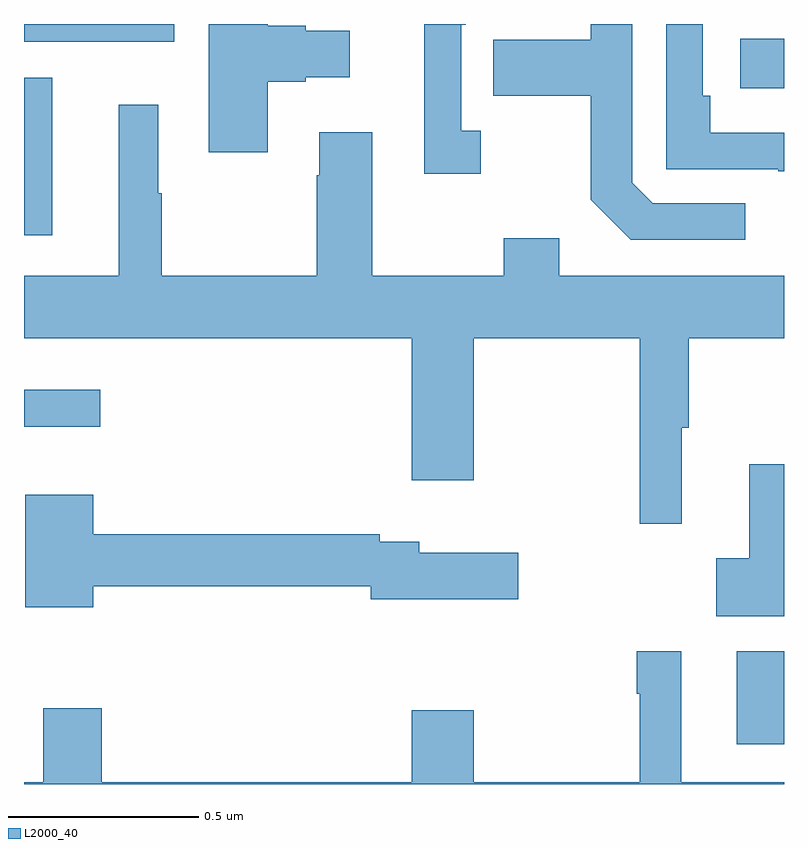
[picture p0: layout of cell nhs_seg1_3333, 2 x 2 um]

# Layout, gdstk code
import gdstk
lib = gdstk.Library(unit=1e-6, precision=1e-09)
def R(c, l, rs):  # rectangles x0, y0, x1, y1
    for r in rs: c.add(gdstk.rectangle(r[:2], r[2:], *l))
def P(c, l, *ps):  # polygons
    for p in ps: c.add(gdstk.Polygon(p, *l))
L2000_40 = (2000, 40)

nhs_seg1_3333 = lib.new_cell('nhs_seg1_3333')
R(nhs_seg1_3333, L2000_40, [(153.875,577.304,154,577.549), (152,578.139,152.2,578.236), (152,578.643,152.074,579.058), (153.885,579.03,154,579.16), (152,579.152,152.395,579.199)])
P(nhs_seg1_3333, L2000_40, [(152.641,579.047),(152.741,579.047),(152.741,579.059),(152.857,579.059),(152.857,579.181),(152.741,579.181),(152.741,579.194),(152.641,579.194),(152.641,579.199),(152.486,579.199),(152.486,578.862),(152.641,578.862)],
  [(153.202,578.918),(153.15,578.918),(153.15,579.197),(153.163,579.197),(153.163,579.199),(153.053,579.199),(153.053,578.805),(153.202,578.805)],
  [(154,578.913),(153.806,578.913),(153.806,579.01),(153.786,579.01),(153.786,579.199),(153.69,579.199),(153.69,578.817),(153.985,578.817),(153.985,578.812),(154,578.812)],
  [(153.898,578.727),(153.654,578.727),(153.6,578.781),(153.6,579.199),(153.492,579.199),(153.492,579.157),(153.235,579.157),(153.235,579.01),(153.492,579.01),(153.492,578.737),(153.597,578.631),(153.898,578.631)],
  [(153.731,578.136),(153.749,578.136),(153.749,578.372),(154,578.372),(154,578.536),(153.409,578.536),(153.409,578.635),(153.262,578.635),(153.262,578.536),(152.917,578.536),(152.917,578.914),(152.777,578.914),(152.777,578.801),(152.77,578.801),(152.77,578.536),(152.363,578.536),(152.363,578.753),(152.353,578.753),(152.353,578.986),(152.249,578.986),(152.249,578.536),(152,578.536),(152,578.372),(153.02,578.372),(153.02,577.998),(153.184,577.998),(153.184,578.372),(153.621,578.372),(153.621,577.884),(153.731,577.884)],
  [(154,578.041),(153.908,578.041),(153.908,577.793),(153.822,577.793),(153.822,577.64),(154,577.64)],
  [(152.182,577.72),(152.912,577.72),(152.912,577.685),(153.301,577.685),(153.301,577.807),(153.04,577.807),(153.04,577.836),(152.936,577.836),(152.936,577.856),(152.182,577.856),(152.182,577.96),(152.003,577.96),(152.003,577.664),(152.182,577.664)],
  [(154,577.204),(153.73,577.204),(153.73,577.549),(153.613,577.549),(153.613,577.436),(153.621,577.436),(153.621,577.204),(153.184,577.204),(153.184,577.393),(153.02,577.393),(153.02,577.204),(152.204,577.204),(152.204,577.399),(152.051,577.399),(152.051,577.204),(152,577.204),(152,577.199),(154,577.199)])

lib.write_gds('nhs_seg1_3333.gds')
